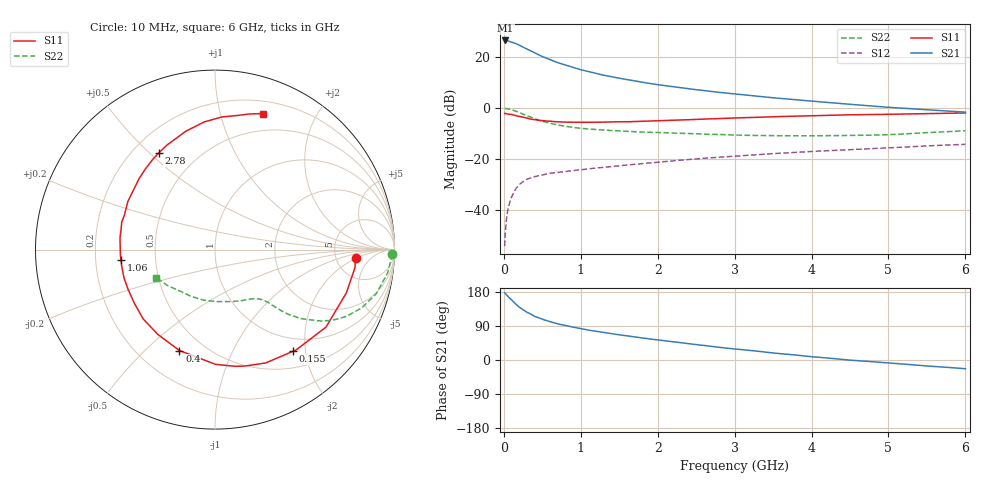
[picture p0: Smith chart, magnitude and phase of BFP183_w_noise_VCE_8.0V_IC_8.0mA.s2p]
! Infineon Technologies  Discrete & RF Semiconductors
! BFP183
! VCE = 8.0 V,  IC =  8.0 mA
! Common Emitter S-Parameters:  Jan 2016
# GHz  S  MA  R  50
!  f  S11  S21  S12  S22
! GHz  MAG  ANG  MAG  ANG  MAG  ANG  MAG  ANG
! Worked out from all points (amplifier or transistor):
!   210 points, 10 MHz to 6 GHz, reference 50 ohm
!   highest |S21| = 26.4 dB at 20 MHz (marker M1)
!   |S21| within 3 dB of that: start of sweep to 277.4 MHz
!   unconditionally stable (mu >= 1): 1.383 GHz to 5.762 GHz
!   at 185 MHz: K = 0.21, MSG = 27.7 dB, |S12| = -30.5 dB
!   at 1.52 GHz: K = 1.03, MAG = 15.9 dB, |S12| = -22.5 dB
!   at 6 GHz: K = 0.96, MSG = 6.3 dB, |S12| = -14.2 dB
!   lowest NFmin = 1.30 dB at 450 MHz
!   S11 on the Smith chart (normalised r, x): 10 MHz: 7.83, -1.84; 155 MHz: 0.77, -1.77; 400 MHz: 0.37, -0.64; 1.06 GHz: 0.31, -0.05; 2.78 GHz: 0.30, +0.53; 6 GHz: 0.32, +1.36
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0.01  0.7843 -3.3  20.82 177.5  0.002 80.2  0.9863 -1.5
0.02  0.7863 -7.3  21 175.5  0.0039 81.7  0.9825 -3.2
0.05  0.7709 -18.1  20.69 168.5  0.0099 83.2  0.9699 -7.8
0.1  0.7544 -34.9  19.51 158.2  0.0182 72.2  0.9322 -15.2
0.155  0.7141 -52.4  18.32 147.3  0.0264 64.4  0.8743 -22.1
0.2  0.6916 -66.0  17.11 139.6  0.0319 59.6  0.8213 -26.9
0.26  0.6595 -80.4  15.3 131.1  0.0375 53.8  0.7538 -31.6
0.3  0.639 -89.8  14.34 126.1  0.0407 50.9  0.7096 -34.1
0.4  0.5962 -109.4  12.08 115.2  0.0457 45.4  0.6187 -38.5
0.5  0.5699 -124.0  10.18 107.4  0.0494 41.5  0.5527 -41.2
0.6  0.5561 -136.1  8.877 101.0  0.0532 40.2  0.5052 -42.6
0.68  0.5415 -144.2  7.955 96.7  0.0546 39.3  0.4758 -43.3
0.8  0.5323 -155.9  6.932 90.7  0.0576 38.1  0.4413 -44.2
1.02  0.5273 -171.4  5.537 82.0  0.0628 37.9  0.4002 -45.6
1.06  0.5272 -173.9  5.35 80.5  0.0639 38.0  0.3952 -45.9
1.5  0.5416 163.7  3.837 66.4  0.0747 38.5  0.3576 -49.8
2.02  0.5642 142.9  2.844 52.4  0.0884 38.3  0.3331 -56.9
2.78  0.6227 120.3  2.047 33.9  0.1093 36.1  0.3057 -71.4
3.1  0.647 112.4  1.826 27.3  0.118 34.8  0.2951 -78.7
4.1  0.7177 93.3  1.33 7.1  0.1442 29.0  0.288 -105.3
5.1  0.7604 79.8  1.014 -9.3  0.1693 23.6  0.3068 -132.8
6  0.8036 70.6  0.833 -23.0  0.1959 16.4  0.3617 -154.5
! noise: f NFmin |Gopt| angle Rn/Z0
0.45  1.3  0.17  43  0.21
0.9  1.35  0.21  115  0.2
1.8  2.05  0.33  -177  0.14
